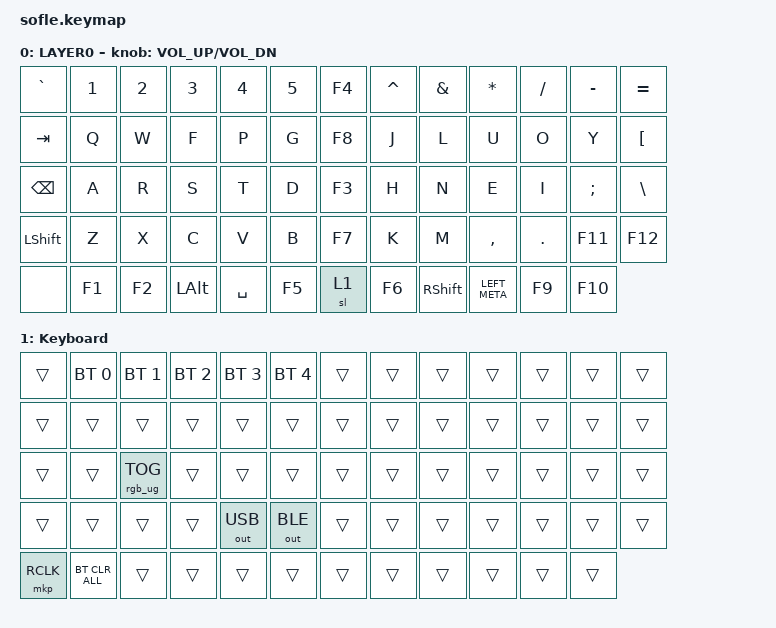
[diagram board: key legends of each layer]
#include <behaviors/mouse_keys.dtsi>
#include <behaviors.dtsi>
#include <dt-bindings/zmk/bt.h>
#include <dt-bindings/zmk/keys.h>
#include <dt-bindings/zmk/mouse.h>
#include <dt-bindings/zmk/outputs.h>
#include <dt-bindings/zmk/rgb.h>

#define ZMK_MOUSE_DEFAULT_MOVE_VAL 1200  // 600
#define ZMK_MOUSE_DEFAULT_SCRL_VAL 20    // 10
#define U_MS_U &mmv MOVE_UP
#define U_MS_D &mmv MOVE_DOWN
#define U_MS_L &mmv MOVE_LEFT
#define U_MS_R &mmv MOVE_RIGHT
#define ZMK_MOUSE_DEFAULT_MOVE_VAL 1200  //  600
#define ZMK_MOUSE_DEFAULT_SCRL_VAL 20    // 10

/ {
    behaviors {
        mmv {
            acceleration-exponent = <1>;      // 1
            time-to-max-speed-ms = <900>;    // 40
            delay-ms = <0>;                   // 0
        };

        msc {
            acceleration-exponent = <1>;      // 0
            time-to-max-speed-ms = <400>;      // 500
            delay-ms = <0>;                   //   10
        };
    };

    scroll_encoder: scroll_encoder {
        compatible = "zmk,behavior-sensor-rotate";
        #sensor-binding-cells = <0>;
        bindings = <&msc SCRL_DOWN>, <&msc SCRL_UP>;

        tap-ms = <30>;
    };

    combos {
        compatible = "zmk,combos";

        Del {
            bindings = <&kp DELETE>;
            key-positions = <29 30>;
        };

        Caret {
            bindings = <&kp CARET>;
            key-positions = <29 47>;
        };

        LPar {
            bindings = <&kp LPAR>;
            key-positions = <29 34>;
        };

        Esc {
            bindings = <&kp ESCAPE>;
            key-positions = <30 47>;
        };

        Return {
            bindings = <&kp ENTER>;
            key-positions = <30 34>;
        };

        End {
            bindings = <&kp END>;
            key-positions = <29 30 47>;
        };

        Home {
            bindings = <&kp HOME>;
            key-positions = <29 30 34>;
        };
    };

    keymap {
        compatible = "zmk,keymap";

        layer0 {
            bindings = <
&kp GRAVE       &kp N1  &kp N2  &kp N3        &kp N4     &kp N5    &kp F4  &kp CARET  &kp AMPERSAND    &kp ASTERISK   &kp SLASH  &kp MINUS  &kp EQUAL
&kp TAB         &kp Q   &kp W   &kp F         &kp P      &kp G     &kp F8  &kp J      &kp L            &kp U          &kp O      &kp Y      &kp LEFT_BRACKET
&kp BACKSPACE   &kp A   &kp R   &kp S         &kp T      &kp D     &kp F3  &kp H      &kp N            &kp E          &kp I      &kp SEMI   &kp BACKSLASH
&kp LEFT_SHIFT  &kp Z   &kp X   &kp C         &kp V      &kp B     &kp F7  &kp K      &kp M            &kp COMMA      &kp DOT    &kp F11    &kp F12
&none           &kp F1  &kp F2  &kp LEFT_ALT  &kp SPACE  &kp F5    &sl 1   &kp F6     &kp RIGHT_SHIFT  &kp LEFT_META  &kp F9     &kp F10
            >;

            sensor-bindings = <&inc_dec_kp C_VOL_UP C_VOL_DN>;
            display-name = "LAYER0";
        };

        Keyboard {
            bindings = <
&trans     &bt BT_SEL 0    &bt BT_SEL 1     &bt BT_SEL 2  &bt BT_SEL 3  &bt BT_SEL 4    &trans  &trans  &trans  &trans  &trans  &trans  &trans
&trans     &trans          &trans           &trans        &trans        &trans          &trans  &trans  &trans  &trans  &trans  &trans  &trans
&trans     &trans          &rgb_ug RGB_TOG  &trans        &trans        &trans          &trans  &trans  &trans  &trans  &trans  &trans  &trans
&trans     &trans          &trans           &trans        &out OUT_USB  &out OUT_BLE    &trans  &trans  &trans  &trans  &trans  &trans  &trans
&mkp RCLK  &bt BT_CLR_ALL  &trans           &trans        &trans        &trans          &trans  &trans  &trans  &trans  &trans  &trans
            >;
        };
    };
};
